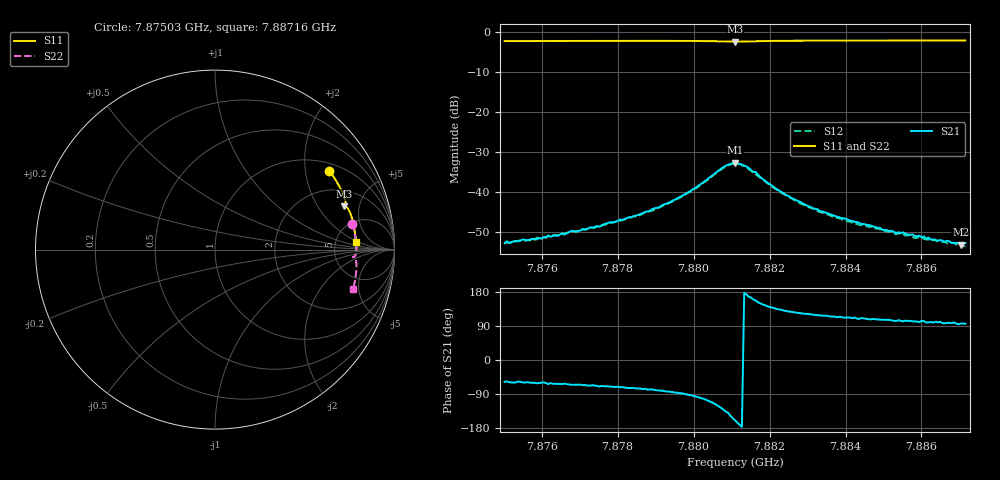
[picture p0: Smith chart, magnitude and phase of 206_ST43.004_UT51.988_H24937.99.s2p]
#  HZ  S  DB  R  50.00
! Rohde & Schwarz Vector Network Analyzer
! Rohde-Schwarz,ZNB20-2Port,1311601062101988,3.16
! Created: UTC 1/12/2023, 6:44:43 PM
! freq[Hz]  db:S11  ang:S11  db:S21  ang:S21  db:S12  ang:S12  db:S22  ang:S22
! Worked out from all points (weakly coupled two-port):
!   201 points, 7.87503 GHz to 7.88716 GHz, reference 50 ohm
!   highest |S21| = -32.59 dB at 7.88109 GHz (marker M1); lowest = -53.0 dB at 7.88703 GHz (marker M2)
!   lowest |S11| = -2.4 dB at 7.88109 GHz (marker M3), VSWR 7.34, Z = 156 + j177 ohm
!   |S11| at or under -10 dB: nowhere
!   |S22| runs from -2.3 to -1.9 dB; largest |S21 - S12| = 0.0021
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7.875025e9  -2.23 34.4  -52.69 -57.4  -52.75 -59.3  -2.17 10.6
7.87551e9  -2.23 33.1  -51.74 -59.5  -52.14 -64.6  -2.16 9.4
7.875996e9  -2.22 31.8  -51.60 -59.6  -51.48 -64.1  -2.14 8.3
7.876178e9  -2.21 31.3  -50.77 -63.6  -50.90 -63.6  -2.13 7.9
7.87642e9  -2.21 30.6  -50.87 -63.2  -50.72 -66.8  -2.13 7.3
7.877087e9  -2.20 28.8  -49.20 -66.3  -49.23 -68.7  -2.11 5.7
7.877512e9  -2.19 27.7  -48.64 -69.9  -48.71 -71.3  -2.09 4.7
7.877755e9  -2.19 27.0  -47.63 -69.5  -48.06 -72.1  -2.09 4.2
7.879089e9  -2.18 23.3  -43.78 -80.3  -43.77 -83.5  -2.07 1.1
7.879635e9  -2.19 21.7  -41.15 -87.5  -41.40 -90.4  -2.07 -0.3
7.880059e9  -2.21 20.4  -38.85 -96.2  -39.01 -99.9  -2.09 -1.4
7.880787e9  -2.33 18.6  -33.73 -131.1  -33.90 -134.6  -2.22 -3.1
7.881091e9  -2.38 18.4  -32.59 -159.6  -32.83 -162.6  -2.27 -3.1
7.881394e9  -2.33 18.3  -33.52 173.1  -33.86 168.9  -2.22 -3.0
7.882304e9  -2.17 15.9  -39.89 132.5  -40.12 128.7  -2.05 -4.9
7.883153e9  -2.14 13.5  -44.03 119.5  -44.15 116.0  -2.00 -7.0
7.883941e9  -2.12 11.3  -46.50 112.0  -47.00 110.1  -1.98 -8.8
7.885154e9  -2.10 8.1  -49.71 106.0  -49.84 101.3  -1.95 -11.5
7.885821e9  -2.10 6.4  -50.89 102.0  -51.47 97.8  -1.95 -13.0
7.886003e9  -2.09 5.9  -51.21 103.1  -51.30 99.6  -1.94 -13.4
7.887035e9  -2.08 3.2  -53.04 96.1  -53.27 94.4  -1.94 -15.6
7.887156e9  -2.08 2.9  -52.66 95.6  -53.41 92.2  -1.94 -15.9
